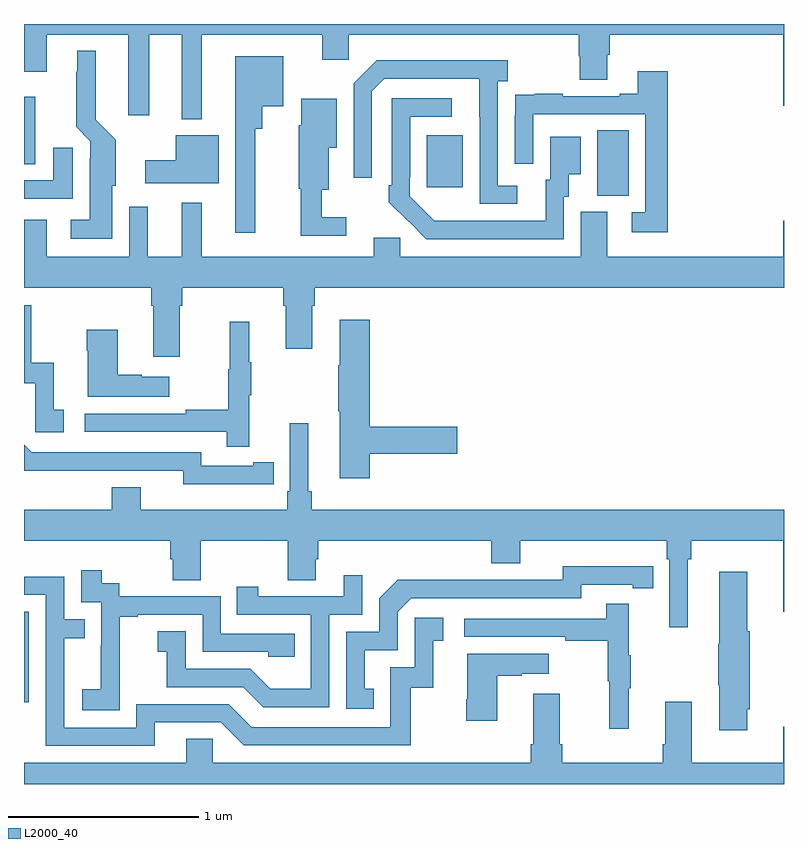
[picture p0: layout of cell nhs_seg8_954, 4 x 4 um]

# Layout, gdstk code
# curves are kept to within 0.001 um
import gdstk
lib = gdstk.Library(unit=1e-6, precision=1e-09)
def R(c, l, rs):  # rectangles x0, y0, x1, y1
    for r in rs: c.add(gdstk.rectangle(r[:2], r[2:], *l))
def P(c, l, *ps):  # polygons
    for p in ps: c.add(gdstk.Polygon(p, *l))
L2000_40 = (2000, 40)

nhs_seg8_954 = lib.new_cell('nhs_seg8_954')
R(nhs_seg8_954, L2000_40, [(173,1102.329,173.025,1102.806), (176.018,1104.997,176.182,1105.34), (175.121,1105.041,175.309,1105.315), (173,1105.162,173.059,1105.516)])
P(nhs_seg8_954, L2000_40, [(175.919,1105.731),(175.924,1105.731),(175.924,1105.606),(176.071,1105.606),(176.071,1105.738),(176.084,1105.738),(176.084,1105.844),(176.996,1105.844),(176.996,1105.47),(177,1105.47),(177,1105.9),(173,1105.9),(173,1105.65),(173.119,1105.65),(173.119,1105.844),(173.549,1105.844),(173.549,1105.419),(173.659,1105.419),(173.659,1105.844),(173.831,1105.844),(173.831,1105.4),(173.935,1105.4),(173.935,1105.844),(174.569,1105.844),(174.569,1105.713),(174.708,1105.713),(174.708,1105.844),(175.919,1105.844)],
  [(173.464,1105.05),(173.482,1105.05),(173.482,1105.29),(173.377,1105.396),(173.377,1105.759),(173.279,1105.759),(173.279,1105.649),(173.275,1105.649),(173.275,1105.358),(173.349,1105.284),(173.349,1105.19),(173.345,1105.19),(173.345,1104.871),(173.247,1104.871),(173.247,1104.77),(173.464,1104.77)],
  [(174.217,1105.349),(174.253,1105.349),(174.253,1105.466),(174.364,1105.466),(174.364,1105.729),(174.113,1105.729),(174.113,1104.801),(174.217,1104.801)],
  [(175.597,1105.05),(175.494,1105.05),(175.494,1105.598),(175.546,1105.598),(175.546,1105.708),(174.856,1105.708),(174.735,1105.587),(174.735,1105.092),(174.831,1105.092),(174.831,1105.545),(174.897,1105.611),(175.397,1105.611),(175.398,1104.954),(175.597,1104.954)],
  [(176.387,1105.651),(176.231,1105.651),(176.231,1105.534),(176.135,1105.534),(176.135,1105.521),(175.835,1105.521),(175.835,1105.534),(175.687,1105.534),(175.687,1105.527),(175.585,1105.527),(175.585,1105.418),(175.584,1105.418),(175.584,1105.164),(175.68,1105.164),(175.68,1105.425),(176.271,1105.425),(176.271,1104.909),(176.199,1104.909),(176.199,1104.804),(176.387,1104.804)],
  [(175.842,1104.99),(175.867,1104.99),(175.867,1105.109),(175.93,1105.109),(175.93,1105.306),(175.769,1105.306),(175.769,1105.08),(175.745,1105.08),(175.745,1104.864),(175.158,1104.865),(175.029,1104.993),(175.029,1105.093),(175.032,1105.093),(175.032,1105.413),(175.252,1105.413),(175.252,1105.509),(174.936,1105.509),(174.936,1105.051),(174.921,1105.051),(174.921,1104.963),(175.118,1104.768),(175.842,1104.768)],
  [(174.697,1104.883),(174.568,1104.883),(174.568,1105.028),(174.604,1105.028),(174.604,1105.25),(174.646,1105.25),(174.646,1105.507),(174.458,1105.507),(174.458,1105.368),(174.446,1105.368),(174.446,1105.032),(174.457,1105.032),(174.457,1104.786),(174.697,1104.786)],
  [(174.025,1105.315),(173.798,1105.315),(173.798,1105.183),(173.637,1105.183),(173.637,1105.061),(174.025,1105.061)],
  [(173.257,1105.249),(173.153,1105.249),(173.153,1105.077),(173,1105.077),(173,1104.981),(173.257,1104.981)],
  [(173.821,1104.416),(173.834,1104.416),(173.834,1104.512),(174.365,1104.512),(174.365,1104.416),(174.377,1104.416),(174.377,1104.192),(174.517,1104.192),(174.517,1104.416),(174.53,1104.416),(174.53,1104.512),(177,1104.512),(177,1104.865),(176.996,1104.865),(176.996,1104.676),(176.071,1104.676),(176.071,1104.912),(175.931,1104.912),(175.931,1104.676),(174.981,1104.676),(174.981,1104.774),(174.842,1104.774),(174.842,1104.676),(173.935,1104.676),(173.935,1104.958),(173.831,1104.958),(173.831,1104.676),(173.651,1104.676),(173.651,1104.937),(173.553,1104.937),(173.553,1104.676),(173.119,1104.676),(173.119,1104.871),(173,1104.871),(173,1104.512),(173.669,1104.512),(173.669,1104.416),(173.681,1104.416),(173.681,1104.15),(173.821,1104.15)],
  [(173.209,1103.871),(173.156,1103.871),(173.156,1104.118),(173.038,1104.118),(173.038,1104.42),(173,1104.42),(173,1104.009),(173.058,1104.009),(173.058,1103.751),(173.209,1103.751)],
  [(174.821,1103.638),(175.279,1103.638),(175.279,1103.78),(174.821,1103.78),(174.821,1104.343),(174.662,1104.343),(174.662,1104.104),(174.655,1104.104),(174.655,1103.863),(174.662,1103.863),(174.662,1103.508),(174.821,1103.508)],
  [(174.185,1103.947),(174.196,1103.947),(174.196,1104.121),(174.185,1104.121),(174.185,1104.334),(174.082,1104.334),(174.082,1104.084),(174.075,1104.084),(174.075,1103.87),(173.851,1103.87),(173.851,1103.85),(173.319,1103.85),(173.319,1103.754),(174.067,1103.754),(174.067,1103.676),(174.185,1103.676)],
  [(173.764,1104.043),(173.621,1104.043),(173.621,1104.053),(173.494,1104.053),(173.494,1104.292),(173.329,1104.292),(173.329,1104.179),(173.336,1104.179),(173.336,1103.939),(173.764,1103.939)],
  [(176.494,1103.084),(176.513,1103.084),(176.513,1103.18),(176.996,1103.18),(176.996,1102.806),(177,1102.806),(177,1103.344),(174.515,1103.344),(174.515,1103.44),(174.496,1103.44),(174.496,1103.8),(174.399,1103.8),(174.399,1103.44),(174.386,1103.44),(174.386,1103.344),(173.614,1103.344),(173.614,1103.461),(173.462,1103.461),(173.462,1103.344),(173,1103.344),(173,1103.18),(173.771,1103.18),(173.771,1103.082),(173.783,1103.082),(173.783,1102.972),(173.931,1102.972),(173.931,1103.18),(174.388,1103.18),(174.388,1102.972),(174.535,1102.972),(174.535,1103.082),(174.548,1103.082),(174.548,1103.18),(175.46,1103.18),(175.46,1103.063),(175.612,1103.063),(175.612,1103.18),(176.384,1103.18),(176.384,1103.084),(176.397,1103.084),(176.397,1102.725),(176.494,1102.725)],
  [(174.206,1103.478),(174.314,1103.478),(174.314,1103.594),(174.206,1103.594),(174.206,1103.574),(173.934,1103.574),(173.934,1103.646),(173.04,1103.646),(173,1103.686),(173,1103.549),(173.838,1103.55),(173.838,1103.477)],
  [(174.842,1102.401),(174.793,1102.401),(174.793,1102.605),(174.966,1102.605),(174.966,1102.806),(175.038,1102.878),(175.932,1102.878),(175.932,1102.95),(176.204,1102.95),(176.204,1102.93),(176.312,1102.93),(176.312,1103.046),(175.836,1103.047),(175.836,1102.974),(175.376,1102.974),(175.376,1102.976),(174.968,1102.976),(174.87,1102.878),(174.87,1102.701),(174.696,1102.701),(174.696,1102.296),(174.842,1102.296)],
  [(173.505,1102.495),(173.504,1102.495),(173.504,1102.779),(173.599,1102.779),(173.599,1102.791),(173.94,1102.791),(173.94,1102.596),(174.285,1102.596),(174.285,1102.569),(174.425,1102.569),(174.425,1102.692),(174.036,1102.692),(174.036,1102.887),(173.502,1102.887),(173.502,1102.956),(173.41,1102.956),(173.41,1103.026),(173.301,1103.026),(173.301,1102.857),(173.406,1102.857),(173.406,1102.628),(173.405,1102.628),(173.405,1102.399),(173.307,1102.399),(173.307,1102.289),(173.505,1102.289)],
  [(176.806,1102.294),(176.819,1102.294),(176.819,1102.704),(176.806,1102.704),(176.806,1103.017),(176.66,1103.017),(176.66,1102.637),(176.653,1102.637),(176.653,1102.42),(176.66,1102.42),(176.66,1102.182),(176.806,1102.182)],
  [(174.606,1102.791),(174.78,1102.791),(174.78,1102.999),(174.683,1102.999),(174.683,1102.887),(174.232,1102.887),(174.232,1102.939),(174.121,1102.939),(174.121,1102.791),(174.51,1102.791),(174.51,1102.402),(174.296,1102.402),(174.192,1102.506),(173.85,1102.506),(173.85,1102.705),(173.703,1102.705),(173.703,1102.595),(173.752,1102.595),(173.752,1102.41),(174.155,1102.41),(174.26,1102.305),(174.606,1102.305)],
  [(173.689,1102.224),(174.036,1102.224),(174.156,1102.104),(175.036,1102.104),(175.036,1102.407),(175.154,1102.407),(175.154,1102.653),(175.207,1102.653),(175.207,1102.774),(175.056,1102.774),(175.056,1102.515),(174.927,1102.515),(174.927,1102.2),(174.198,1102.2),(174.078,1102.32),(173.592,1102.32),(173.592,1102.197),(173.211,1102.197),(173.211,1102.666),(173.321,1102.666),(173.321,1102.767),(173.211,1102.767),(173.211,1102.992),(173,1102.992),(173,1102.896),(173.115,1102.896),(173.115,1102.101),(173.689,1102.101)],
  [(176.183,1102.403),(176.194,1102.403),(176.194,1102.577),(176.183,1102.577),(176.183,1102.849),(176.065,1102.849),(176.065,1102.77),(175.317,1102.77),(175.317,1102.674),(175.849,1102.674),(175.849,1102.654),(176.073,1102.654),(176.073,1102.44),(176.08,1102.44),(176.08,1102.191),(176.183,1102.191)],
  [(175.492,1102.471),(175.619,1102.471),(175.619,1102.481),(175.762,1102.481),(175.762,1102.585),(175.334,1102.585),(175.334,1102.345),(175.327,1102.345),(175.327,1102.233),(175.492,1102.233)],
  [(175.679,1102.375),(175.679,1102.108),(175.667,1102.108),(175.667,1102.012),(173.994,1102.012),(173.994,1102.139),(173.855,1102.139),(173.855,1102.012),(173,1102.012),(173,1101.9),(177,1101.9),(177,1102.201),(176.996,1102.201),(176.996,1102.012),(176.515,1102.012),(176.515,1102.333),(176.375,1102.333),(176.375,1102.108),(176.363,1102.108),(176.363,1102.012),(175.832,1102.012),(175.832,1102.108),(175.819,1102.108),(175.819,1102.375)])

lib.write_gds('nhs_seg8_954.gds')
